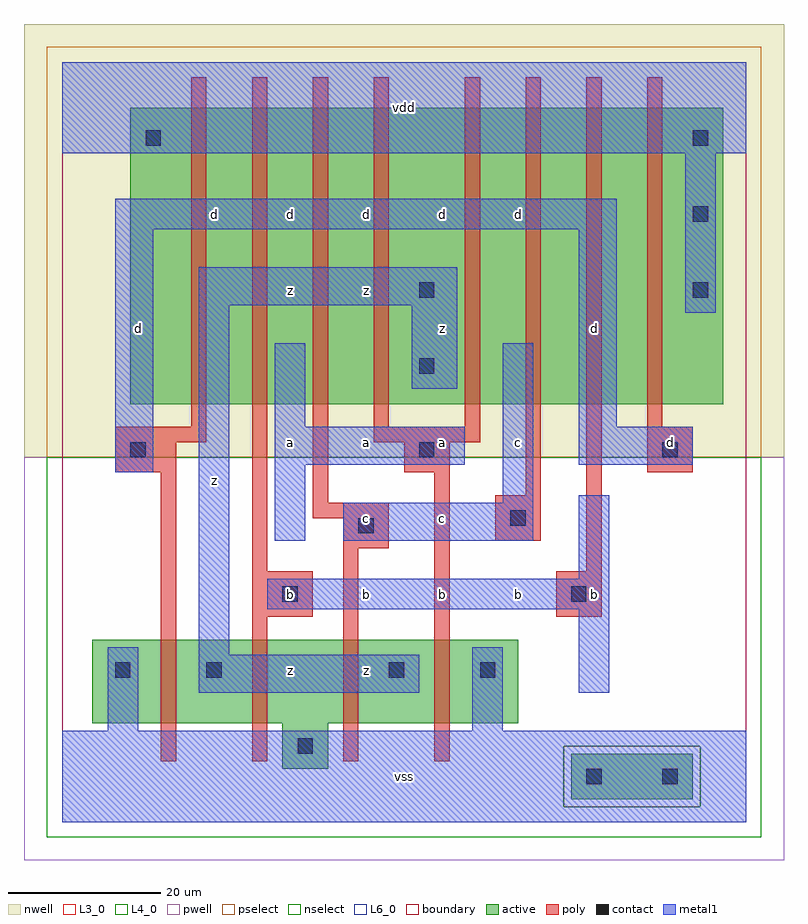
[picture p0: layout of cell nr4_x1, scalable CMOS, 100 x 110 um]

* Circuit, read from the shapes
.subckt nr4_x1 a b c d vdd vss z
M1 z d vss vss nfet w=11u l=2u
M2 vss b z vss nfet w=11u l=2u
M3 z c vss vss nfet w=11u l=2u
M4 vss a z vss nfet w=11u l=2u
M5 n1 d vdd n2 pfet w=39u l=2u
M6 n3 b n1 n2 pfet w=39u l=2u
M7 n4 c n3 n2 pfet w=39u l=2u
M8 z a n4 n2 pfet w=39u l=2u
M9 n5 a z n2 pfet w=39u l=2u
M10 n6 c n5 n2 pfet w=39u l=2u
M11 n7 b n6 n2 pfet w=39u l=2u
M12 vdd d n7 n2 pfet w=39u l=2u
.ends

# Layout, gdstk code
import gdstk
lib = gdstk.Library(unit=1e-6, precision=1e-09)
def R(c, l, rs):  # rectangles x0, y0, x1, y1
    for r in rs: c.add(gdstk.rectangle(r[:2], r[2:], *l))
def A(c, l, x, y, w, h, nx, ny, dx, dy):  # array of equal rectangles
    R(c, l, [(x+i*dx, y+j*dy, x+i*dx+w, y+j*dy+h) for i in range(nx) for j in range(ny)])
L3_0 = (3, 0)
L4_0 = (4, 0)
L6_0 = (6, 0)
contact = (25, 0)
pwell = (41, 0)
nwell = (42, 0)
active = (43, 0)
pselect = (44, 0)
nselect = (45, 0)
poly = (46, 0)
metal1 = (49, 0)
boundary = (63, 0)

nr4_x1 = lib.new_cell('nr4_x1')
R(nr4_x1, L3_0, [(29,7,35,13), (4,13,60,24)])
R(nr4_x1, L4_0, [(9,55,87,94)])
R(nr4_x1, L6_0, [(67,3,83,9)])
A(nr4_x1, contact, 83, 69, 2, 2, 1, 3, 0, 10)
R(nr4_x1, contact, [(69,5,71,7), (79,5,81,7), (31,9,33,11), (7,19,9,21), (19,19,21,21), (43,19,45,21), (55,19,57,21), (29,29,31,31), (67,29,69,31), (39,38,41,40), (59,39,61,41), (9,48,11,50), (47,48,49,50), (79,48,81,50), (47,59,49,61), (47,69,49,71), (11,89,13,91)])
R(nr4_x1, pwell, [(-5,-5,95,48)])
R(nr4_x1, nwell, [(-5,48,95,105)])
R(nr4_x1, active, [(67,3,83,9), (29,7,35,13), (4,13,60,24), (9,55,87,94)])
R(nr4_x1, pselect, [(66,2,84,10), (-2,48,92,102)])
R(nr4_x1, nselect, [(-2,-2,92,2), (-2,2,66,10), (84,2,92,10), (-2,10,92,48)])
R(nr4_x1, poly, [(13,8,15,46), (25,8,27,27), (37,8,39,36), (49,8,51,46), (25,27,33,33), (65,27,71,33), (25,33,27,98), (69,33,71,98), (37,36,43,40), (57,37,63,43), (33,40,43,42), (33,42,35,98), (61,43,63,98), (7,46,15,50), (45,46,51,50), (77,46,83,52), (7,50,19,52), (41,50,55,52), (17,52,19,98), (41,52,43,98), (53,52,55,98), (77,52,79,98)])
R(nr4_x1, metal1, [(0,0,90,12), (6,12,10,23), (54,12,58,23), (18,17,47,22), (68,17,72,28), (18,22,22,68), (27,28,72,32), (68,32,72,43), (28,37,32,47), (37,37,62,42), (58,42,62,63), (7,46,12,78), (28,47,53,52), (68,47,83,52), (28,52,32,63), (68,52,73,78), (46,57,52,68), (82,67,86,88), (18,68,52,73), (7,78,73,82), (0,88,90,100)])
R(nr4_x1, boundary, [(0,0,90,100)])
nr4_x1.add(gdstk.Label('d', (10,65), layer=49, texttype=0))
nr4_x1.add(gdstk.Label('z', (30,20), layer=49, texttype=0))
nr4_x1.add(gdstk.Label('b', (30,30), layer=49, texttype=0))
nr4_x1.add(gdstk.Label('z', (20,45), layer=49, texttype=0))
nr4_x1.add(gdstk.Label('a', (30,50), layer=49, texttype=0))
nr4_x1.add(gdstk.Label('z', (30,70), layer=49, texttype=0))
nr4_x1.add(gdstk.Label('d', (30,80), layer=49, texttype=0))
nr4_x1.add(gdstk.Label('d', (20,80), layer=49, texttype=0))
nr4_x1.add(gdstk.Label('vss', (45,6), layer=49, texttype=0))
nr4_x1.add(gdstk.Label('z', (40,20), layer=49, texttype=0))
nr4_x1.add(gdstk.Label('b', (40,30), layer=49, texttype=0))
nr4_x1.add(gdstk.Label('b', (50,30), layer=49, texttype=0))
nr4_x1.add(gdstk.Label('c', (50,40), layer=49, texttype=0))
nr4_x1.add(gdstk.Label('c', (40,40), layer=49, texttype=0))
nr4_x1.add(gdstk.Label('a', (50,50), layer=49, texttype=0))
nr4_x1.add(gdstk.Label('a', (40,50), layer=49, texttype=0))
nr4_x1.add(gdstk.Label('z', (40,70), layer=49, texttype=0))
nr4_x1.add(gdstk.Label('z', (50,65), layer=49, texttype=0))
nr4_x1.add(gdstk.Label('d', (50,80), layer=49, texttype=0))
nr4_x1.add(gdstk.Label('d', (40,80), layer=49, texttype=0))
nr4_x1.add(gdstk.Label('vdd', (45,94), layer=49, texttype=0))
nr4_x1.add(gdstk.Label('b', (70,30), layer=49, texttype=0))
nr4_x1.add(gdstk.Label('b', (60,30), layer=49, texttype=0))
nr4_x1.add(gdstk.Label('c', (60,50), layer=49, texttype=0))
nr4_x1.add(gdstk.Label('d', (70,65), layer=49, texttype=0))
nr4_x1.add(gdstk.Label('d', (60,80), layer=49, texttype=0))
nr4_x1.add(gdstk.Label('d', (80,50), layer=49, texttype=0))

lib.write_gds('nr4_x1.gds')
